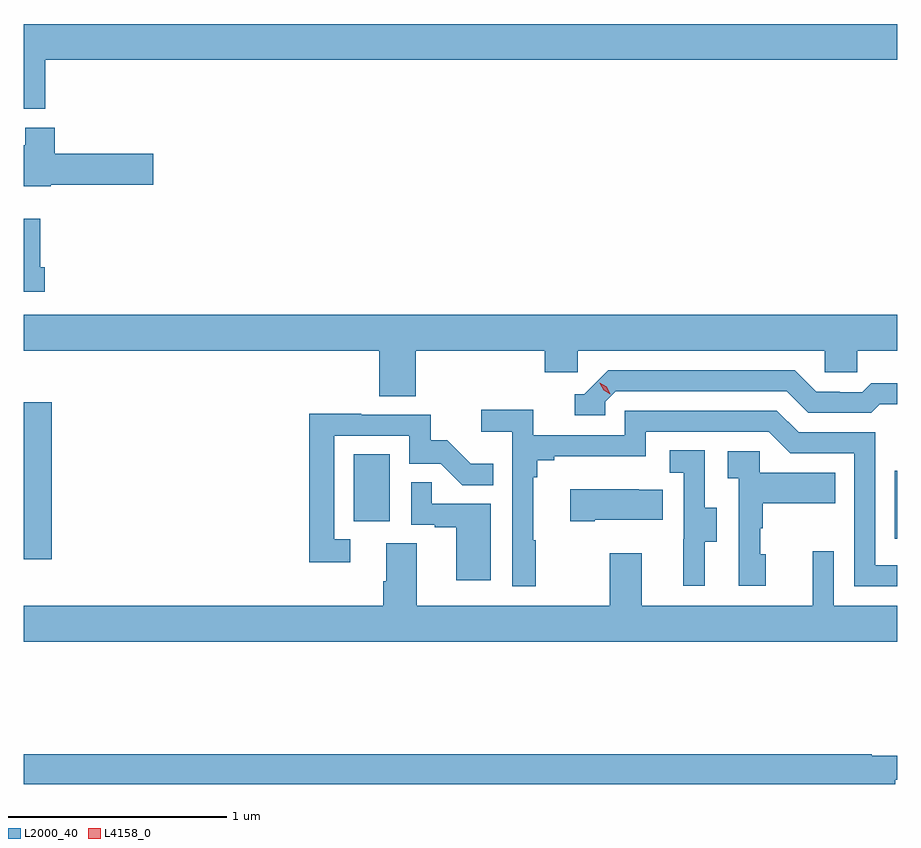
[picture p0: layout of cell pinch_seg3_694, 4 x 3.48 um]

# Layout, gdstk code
import gdstk
lib = gdstk.Library(unit=1e-6, precision=1e-09)
def R(c, l, rs):  # rectangles x0, y0, x1, y1
    for r in rs: c.add(gdstk.rectangle(r[:2], r[2:], *l))
def P(c, l, *ps):  # polygons
    for p in ps: c.add(gdstk.Polygon(p, *l))
L2000_40 = (2000, 40)
L4158_0 = (4158, 0)

pinch_seg3_694 = lib.new_cell('pinch_seg3_694')
R(pinch_seg3_694, L2000_40, [(1095.986,673.32,1096.114,674.041), (1099.974,673.416,1099.986,673.726), (1097.498,673.494,1097.662,673.801)])
P(pinch_seg3_694, L2000_40, [(1096.085,675.608),(1099.986,675.608),(1099.986,675.772),(1095.986,675.772),(1095.986,675.383),(1096.085,675.383)],
  [(1096.11,675.035),(1096.579,675.035),(1096.579,675.177),(1096.127,675.177),(1096.127,675.298),(1095.992,675.298),(1095.992,675.217),(1095.986,675.217),(1095.986,675.029),(1096.11,675.029)],
  [(1096.082,674.659),(1096.062,674.659),(1096.062,674.881),(1095.986,674.881),(1095.986,674.547),(1096.082,674.547)],
  [(1097.78,674.276),(1098.371,674.276),(1098.371,674.178),(1098.522,674.178),(1098.522,674.276),(1099.653,674.276),(1099.653,674.178),(1099.803,674.178),(1099.803,674.276),(1099.986,674.276),(1099.986,674.44),(1095.986,674.44),(1095.986,674.276),(1097.615,674.276),(1097.615,674.068),(1097.78,674.068)],
  [(1098.648,674.043),(1098.696,674.091),(1099.479,674.091),(1099.578,673.992),(1099.867,673.992),(1099.906,674.031),(1099.986,674.031),(1099.986,674.128),(1099.867,674.128),(1099.825,674.085),(1099.722,674.085),(1099.722,674.088),(1099.615,674.088),(1099.516,674.187),(1098.663,674.187),(1098.552,674.076),(1098.509,674.076),(1098.509,673.98),(1098.648,673.98)],
  [(1098.331,673.409),(1098.319,673.409),(1098.319,673.697),(1098.338,673.697),(1098.338,673.774),(1098.415,673.774),(1098.415,673.793),(1098.834,673.793),(1098.834,673.905),(1099.398,673.905),(1099.497,673.806),(1099.788,673.806),(1099.788,673.197),(1099.986,673.197),(1099.986,673.293),(1099.884,673.293),(1099.884,673.902),(1099.534,673.902),(1099.435,674.001),(1098.738,674.001),(1098.738,673.89),(1098.32,673.89),(1098.32,674.006),(1098.081,674.006),(1098.081,673.904),(1098.222,673.904),(1098.222,673.197),(1098.331,673.197)],
  [(1097.482,673.413),(1097.409,673.413),(1097.409,673.887),(1097.751,673.887),(1097.751,673.758),(1097.895,673.758),(1097.993,673.66),(1098.137,673.66),(1098.137,673.759),(1098.033,673.759),(1097.926,673.866),(1097.85,673.866),(1097.85,673.983),(1097.531,673.983),(1097.531,673.988),(1097.293,673.988),(1097.293,673.308),(1097.482,673.308)],
  [(1099.105,673.402),(1099.159,673.402),(1099.159,673.557),(1099.104,673.557),(1099.104,673.82),(1098.945,673.82),(1098.945,673.717),(1099.008,673.717),(1099.008,673.413),(1099.007,673.413),(1099.007,673.2),(1099.105,673.2)],
  [(1099.384,673.344),(1099.359,673.344),(1099.359,673.463),(1099.369,673.463),(1099.369,673.577),(1099.703,673.577),(1099.703,673.717),(1099.356,673.717),(1099.356,673.815),(1099.209,673.815),(1099.209,673.691),(1099.26,673.691),(1099.26,673.2),(1099.384,673.2)],
  [(1098.124,673.575),(1097.855,673.575),(1097.855,673.673),(1097.76,673.673),(1097.76,673.479),(1097.867,673.479),(1097.867,673.467),(1097.966,673.467),(1097.966,673.224),(1098.124,673.224)],
  [(1098.601,673.502),(1098.911,673.502),(1098.911,673.639),(1098.803,673.639),(1098.803,673.642),(1098.489,673.642),(1098.489,673.495),(1098.601,673.495)],
  [(1099.986,673.108),(1099.695,673.108),(1099.695,673.357),(1099.598,673.357),(1099.598,673.108),(1098.817,673.108),(1098.817,673.348),(1098.67,673.348),(1098.67,673.108),(1097.785,673.108),(1097.785,673.394),(1097.645,673.394),(1097.645,673.22),(1097.633,673.22),(1097.633,673.108),(1095.986,673.108),(1095.986,672.944),(1099.986,672.944)],
  [(1099.976,672.311),(1099.986,672.311),(1099.986,672.421),(1099.87,672.421),(1099.87,672.428),(1095.986,672.428),(1095.986,672.292),(1099.976,672.292)])
P(pinch_seg3_694, L4158_0, [(1098.672,674.077),(1098.641,674.096),(1098.624,674.128),(1098.624,674.129),(1098.624,674.129),(1098.655,674.11),(1098.672,674.077),(1098.672,674.077)])

lib.write_gds('pinch_seg3_694.gds')
